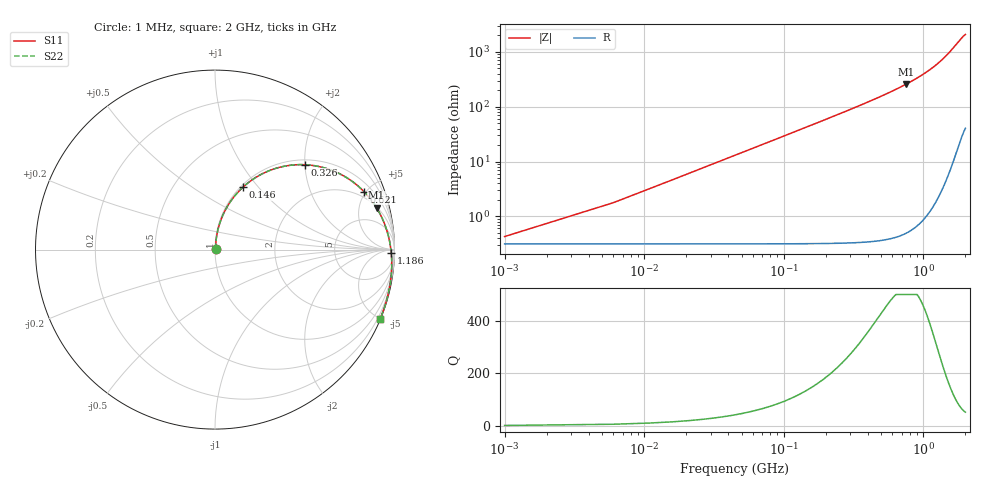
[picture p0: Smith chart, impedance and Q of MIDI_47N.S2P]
! Coilcraft 1812SMS-47N Midi Spring Air Core Inductor
! 10 June 2003
# MHZ S MA R 50
!Freq  MagS11  AngS11  MagS21  AngS21  MagS12  AngS12  MagS22  AngS22
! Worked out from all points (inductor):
!   401 points, 1 MHz to 2 GHz, reference 50 ohm
!   read as one part in series: L = 46.2 nH near 11 MHz
!   highest Q = 525 at 756 MHz (marker M1), where L = 54.6 nH
!   S11 on the Smith chart (normalised r, x): 1 MHz: 1.01, +0.01; 146 MHz: 1.03, +0.84; 326 MHz: 1.11, +1.99; 621 MHz: 1.55, +4.85; 1.186 GHz: 59, -55; 2 GHz: 0.03, -4.99
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1  0.004208 41.9  0.9969 -0.2  0.9969 -0.2  0.004208 41.9
6  0.01719 78.5  0.9967 -1.0  0.9967 -1.0  0.0172 78.5
16  0.04515 83.3  0.9959 -2.7  0.9959 -2.7  0.04516 83.3
21  0.05916 83.4  0.9951 -3.6  0.9951 -3.6  0.05918 83.4
26  0.07314 83.1  0.9942 -4.4  0.9942 -4.4  0.07317 83.1
41  0.1149 81.5  0.9903 -7.0  0.9903 -7.0  0.1149 81.5
61  0.1696 78.7  0.9824 -10.3  0.9824 -10.3  0.1697 78.7
81  0.2229 75.6  0.9718 -13.6  0.9718 -13.6  0.223 75.6
111  0.2995 71.0  0.9511 -18.4  0.9511 -18.4  0.2996 71.0
146  0.3824 65.8  0.921 -23.8  0.921 -23.8  0.3826 65.8
231  0.5514 54.2  0.8315 -35.5  0.8315 -35.5  0.5516 54.2
326  0.6877 43.5  0.7235 -46.3  0.7235 -46.3  0.6879 43.5
336  0.6993 42.4  0.7124 -47.4  0.7124 -47.4  0.6995 42.4
471  0.8168 30.9  0.5746 -59.0  0.5746 -59.0  0.8171 30.9
621  0.8909 21.3  0.4521 -68.6  0.4521 -68.6  0.8912 21.3
671  0.9075 18.6  0.4178 -71.3  0.4178 -71.3  0.9078 18.6
756  0.9299 14.5  0.3656 -75.4  0.3656 -75.4  0.9302 14.5
1001  0.9677 4.9  0.2492 -84.9  0.2492 -84.9  0.968 4.9
1186  0.9819 -1.0  0.185 -90.8  0.185 -90.8  0.9823 -1.0
1336  0.9888 -5.3  0.1436 -95.1  0.1436 -95.1  0.9891 -5.3
1671  0.9959 -14.1  0.07794 -103.6  0.07794 -103.6  0.9962 -14.1
2000  0.9976 -22.7  0.04611 -111.6  0.04611 -111.6  0.9979 -22.7
